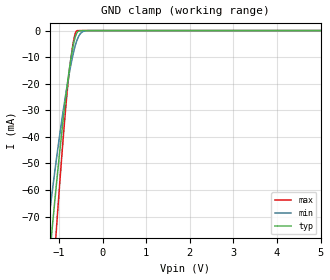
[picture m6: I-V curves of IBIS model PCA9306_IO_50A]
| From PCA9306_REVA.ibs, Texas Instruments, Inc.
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[Model]   PCA9306_IO_50A
Model_type  Terminator
| variable   typ   min   max
C_comp   2.61pF   2.04pF   5.38pF
| C_tri-state   2.61pF   2.04pF   5.38pF
[Temperature Range]   40   100   -40
| Ambient temperature   25   85   -40
[Voltage range]   5   5   5
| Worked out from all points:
|   GND clamp passes 1 mA (typ) near -0.59 V on its own axis
[GND Clamp]
| PCA9306_IO_50A
|   Voltage   I(typ)   I(min)   I(max)
-5V       -931.9mA   -737mA     -1.229A
-1.305V   -101.3mA   -80.91mA   -134.8mA
-1.26V    -93.01mA   -74.68mA   -123.4mA
-1.175V   -77.75mA   -63.23mA   -102.3mA
-1.06V    -58.02mA   -48.48mA   -74.88mA
-905mV    -33.62mA   -30.32mA   -40.74mA
-795mV    -18.51mA   -18.98mA   -20.12mA
-680mV    -6.109mA   -9.157mA   -5.225mA
-595mV    -1.038mA   -3.966mA   -104uA
-485mV    -31.54uA   -706.8uA   -862.7nA
-330mV    -244.7nA   -17.7uA    -1.795nA
5V        54.17pA    2.924nA    25.8pA
